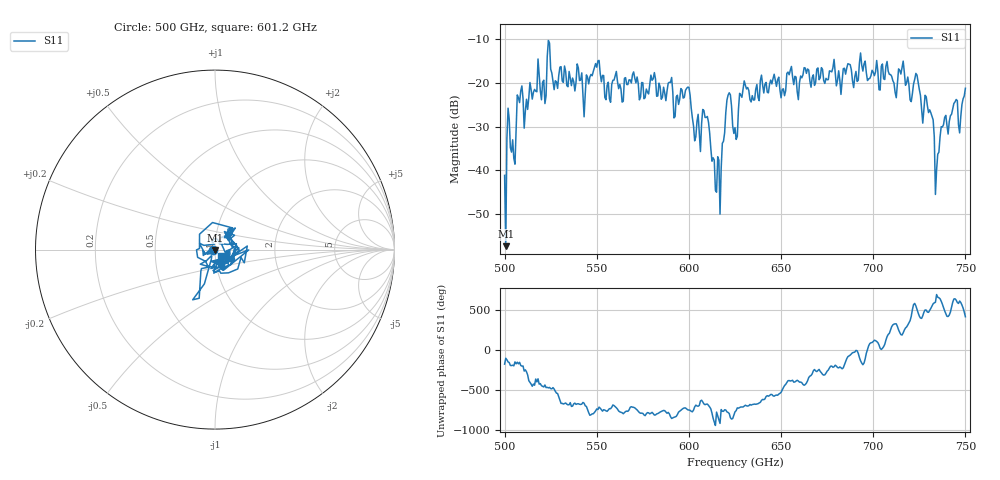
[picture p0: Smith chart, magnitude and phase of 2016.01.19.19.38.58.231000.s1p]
!Created with skrf (http://scikit-rf.org).
# GHz S RI R 50.0
!freq ReS11 ImS11
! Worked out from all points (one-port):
!   401 points, 500 GHz to 750 GHz, reference 50 ohm
!   lowest |S11| = -57.3 dB at 500.6 GHz (marker M1), VSWR 1.00, Z = 50 - j0.132 ohm
!   |S11| at or under -10 dB: start of sweep to end of sweep
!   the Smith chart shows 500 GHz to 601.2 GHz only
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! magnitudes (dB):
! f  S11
! 500 GHz  -41.1
! 500.6 GHz  -57.3
! 502.5 GHz  -28.3
! 505 GHz  -37.2
! 508.1 GHz  -24.5
! 521.2 GHz  -19.4
! 524.4 GHz  -10.9
! 527.5 GHz  -19.5
! 531.2 GHz  -19.5
! 543.8 GHz  -22.5
! 550 GHz  -16.4
! 562.5 GHz  -20.3
! 580.6 GHz  -19.0
! 593.8 GHz  -22.8
! 599.4 GHz  -21.0
! 605 GHz  -27.2
! 608.8 GHz  -27.9
! 615.6 GHz  -36.9
! 621.2 GHz  -22.8
! 625 GHz  -30.2
! 630.6 GHz  -20.5
! 656.2 GHz  -18.7
! 687.5 GHz  -15.8
! 718.8 GHz  -18.7
! 729.4 GHz  -25.2
! 734.4 GHz  -39.9
! 738.1 GHz  -29.6
! 750 GHz  -21.2
